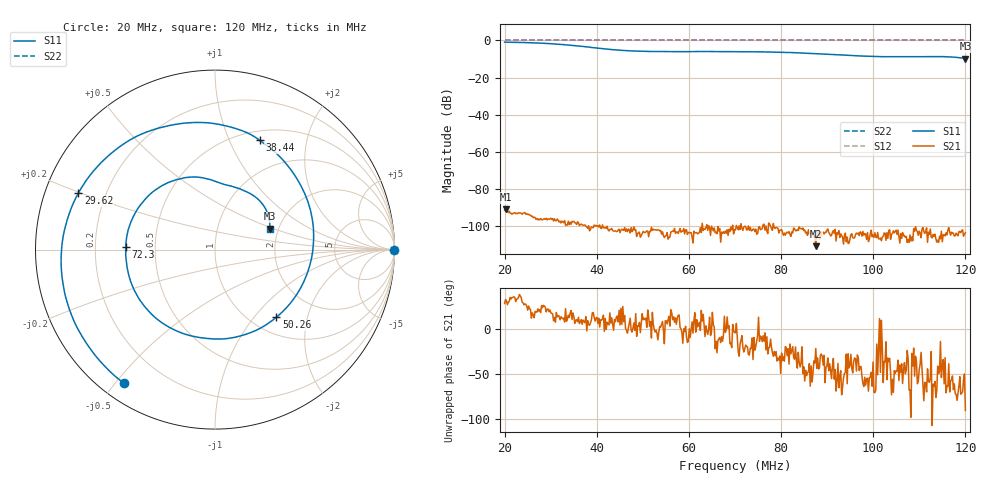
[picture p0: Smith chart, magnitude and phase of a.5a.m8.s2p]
! Anritsu VNA Master:  Model: MS2036C/10/77
! SN:  1601066
! /bd0/18may8/255.ew.m8.s2p
! Existing Calibration Information:
! TYPE:  Current Settings,  Active Cal Settings
! TIME:  05/08/2018 10:29:05 AM,  05/08/2018 10:22:10 AM
! INTERNAL TEMP:  47.8 C,  47.5 C
! # POINTS:  500,  500
! START FREQ:  20.000 MHz,  20.000 MHz
! STOP FREQ:  120.000 MHz,  120.000 MHz
! SOURCE POWER:  High,  High
! IFBW:  50 Hz,  50 Hz
! AVG FACTOR:  1 ,  1
! REF PLANE 1:  0 mm,  0 mm
! REF PLANE 2:  0 mm,  0 mm
! CAL TYPE:  Full S11,  Full S11
! CAL METHOD:  SOLT,  SOLT
! CAL LINE TYPE:  Coax,  Coax
! DUT PORT 1:  K-Conn(F),  K-Conn(F)
! DUT PORT 2:  K-Conn(F),  K-Conn(F)
! CAL STATUS:  OK: Accuracy High,  --
# GHZ S DB R 50.0
! FREQ.GHZ  S11DB  S11A  S21DB  S21A  S12DB  S12A  S22DB  S22A
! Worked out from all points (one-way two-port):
!   500 points, 20 MHz to 120 MHz, reference 50 ohm
!   highest |S21| = -90.88 dB at 20.2 MHz (marker M1); lowest = -110.7 dB at 87.54 MHz (marker M2)
!   lowest |S11| = -9.7 dB at 120 MHz (marker M3), VSWR 1.97, Z = 90 + j23.3 ohm
!   |S11| at or under -10 dB: nowhere
!   |S22| runs from 0.0 to 0.0 dB; largest |S21 - S12| = 1
!   S11 on the Smith chart (normalised r, x): 20 MHz: 0.07, -0.53; 29.62 MHz: 0.10, +0.20; 38.44 MHz: 0.60, +1.30; 50.26 MHz: 1.29, -1.31; 72.3 MHz: 0.34, +0.01; 120 MHz: 1.80, +0.47
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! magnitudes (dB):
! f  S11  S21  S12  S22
! 20 MHz  -0.9  -91.5  0.0  0.0
! 20.2 MHz  -0.9  -90.9  0.0  0.0
! 26.21 MHz  -1.3  -95.4  0.0  0.0
! 29.62 MHz  -1.7  -96.2  0.0  0.0
! 32.83 MHz  -2.3  -98.1  0.0  0.0
! 36.83 MHz  -3.2  -99.1  0.0  0.0
! 38.44 MHz  -3.6  -102.4  0.0  0.0
! 41.44 MHz  -4.5  -100.5  0.0  0.0
! 44.65 MHz  -5.2  -102.0  0.0  0.0
! 47.05 MHz  -5.6  -101.9  0.0  0.0
! 50.26 MHz  -5.9  -103.1  0.0  0.0
! 53.47 MHz  -6.0  -102.0  0.0  0.0
! 70.1 MHz  -6.0  -102.0  0.0  0.0
! 72.3 MHz  -6.1  -100.0  0.0  0.0
! 78.52 MHz  -6.3  -100.8  0.0  0.0
! 86.73 MHz  -7.0  -104.4  0.0  0.0
! 87.54 MHz  -7.1  -110.7  0.0  0.0
! 98.16 MHz  -8.5  -103.9  0.0  0.0
! 103.4 MHz  -8.8  -102.3  0.0  0.0
! 115 MHz  -8.7  -108.3  0.0  0.0
! 117.6 MHz  -9.0  -105.2  0.0  0.0
! 120 MHz  -9.7  -103.4  0.0  0.0
